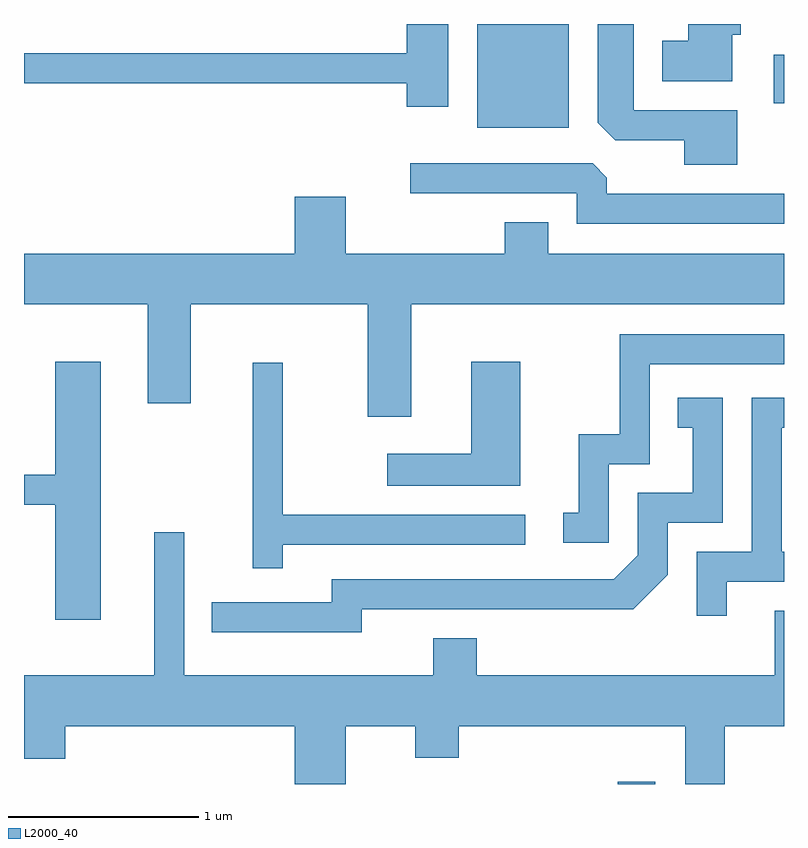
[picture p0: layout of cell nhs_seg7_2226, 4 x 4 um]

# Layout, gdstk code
import gdstk
lib = gdstk.Library(unit=1e-6, precision=1e-09)
def R(c, l, rs):  # rectangles x0, y0, x1, y1
    for r in rs: c.add(gdstk.rectangle(r[:2], r[2:], *l))
def P(c, l, *ps):  # polygons
    for p in ps: c.add(gdstk.Polygon(p, *l))
L2000_40 = (2000, 40)

nhs_seg7_2226 = lib.new_cell('nhs_seg7_2226')
R(nhs_seg7_2226, L2000_40, [(256.736,1696.252,256.934,1696.264), (255.996,1699.706,256.479,1700.252), (257.556,1699.836,257.611,1700.089)])
P(nhs_seg7_2226, L2000_40, [(257.339,1700.196),(257.384,1700.196),(257.384,1700.252),(257.106,1700.252),(257.106,1700.164),(256.971,1700.164),(256.971,1699.951),(257.339,1699.951)],
  [(257.364,1699.799),(256.819,1699.799),(256.819,1700.252),(256.631,1700.252),(256.631,1699.732),(256.722,1699.641),(257.086,1699.641),(257.086,1699.511),(257.364,1699.511)],
  [(255.844,1700.252),(255.626,1700.252),(255.626,1700.099),(253.611,1700.099),(253.611,1699.941),(255.626,1699.941),(255.626,1699.816),(255.844,1699.816)],
  [(257.611,1699.359),(256.679,1699.359),(256.679,1699.444),(256.604,1699.519),(255.643,1699.519),(255.643,1699.361),(256.521,1699.361),(256.521,1699.201),(257.611,1699.201)],
  [(255.649,1698.776),(257.611,1698.776),(257.611,1699.044),(256.369,1699.044),(256.369,1699.209),(256.141,1699.209),(256.141,1699.044),(255.304,1699.044),(255.304,1699.344),(255.036,1699.344),(255.036,1699.044),(253.611,1699.044),(253.611,1698.776),(254.261,1698.776),(254.261,1698.256),(254.489,1698.256),(254.489,1698.776),(255.421,1698.776),(255.421,1698.186),(255.649,1698.186)],
  [(256.689,1697.936),(256.904,1697.936),(256.904,1698.461),(257.611,1698.461),(257.611,1698.619),(256.746,1698.619),(256.746,1698.094),(256.531,1698.094),(256.531,1697.679),(256.448,1697.679),(256.448,1697.521),(256.689,1697.521)],
  [(254.014,1698.474),(253.776,1698.474),(253.776,1697.879),(253.611,1697.879),(253.611,1697.721),(253.776,1697.721),(253.776,1697.116),(254.014,1697.116)],
  [(256.224,1698.474),(255.966,1698.474),(255.966,1697.989),(255.523,1697.989),(255.523,1697.821),(256.224,1697.821)],
  [(254.974,1697.511),(256.248,1697.511),(256.248,1697.669),(254.974,1697.669),(254.974,1698.468),(254.816,1698.468),(254.816,1697.388),(254.974,1697.388)],
  [(255.389,1697.171),(256.817,1697.171),(256.999,1697.354),(256.999,1697.626),(257.289,1697.626),(257.289,1698.284),(257.053,1698.284),(257.053,1698.126),(257.131,1698.126),(257.131,1697.784),(256.841,1697.784),(256.841,1697.457),(256.714,1697.329),(255.231,1697.329),(255.231,1697.209),(254.598,1697.209),(254.598,1697.051),(255.389,1697.051)],
  [(257.309,1697.316),(257.611,1697.316),(257.611,1697.474),(257.599,1697.474),(257.599,1698.126),(257.611,1698.126),(257.611,1698.284),(257.441,1698.284),(257.441,1697.474),(257.151,1697.474),(257.151,1697.138),(257.309,1697.138)],
  [(255.304,1696.556),(255.671,1696.556),(255.671,1696.391),(255.899,1696.391),(255.899,1696.556),(257.091,1696.556),(257.091,1696.252),(257.299,1696.252),(257.299,1696.556),(257.611,1696.556),(257.611,1697.164),(257.561,1697.164),(257.561,1696.824),(255.994,1696.824),(255.994,1697.019),(255.766,1697.019),(255.766,1696.824),(254.454,1696.824),(254.454,1697.578),(254.296,1697.578),(254.296,1696.824),(253.611,1696.824),(253.611,1696.386),(253.829,1696.386),(253.829,1696.556),(255.036,1696.556),(255.036,1696.252),(255.304,1696.252)])

lib.write_gds('nhs_seg7_2226.gds')
